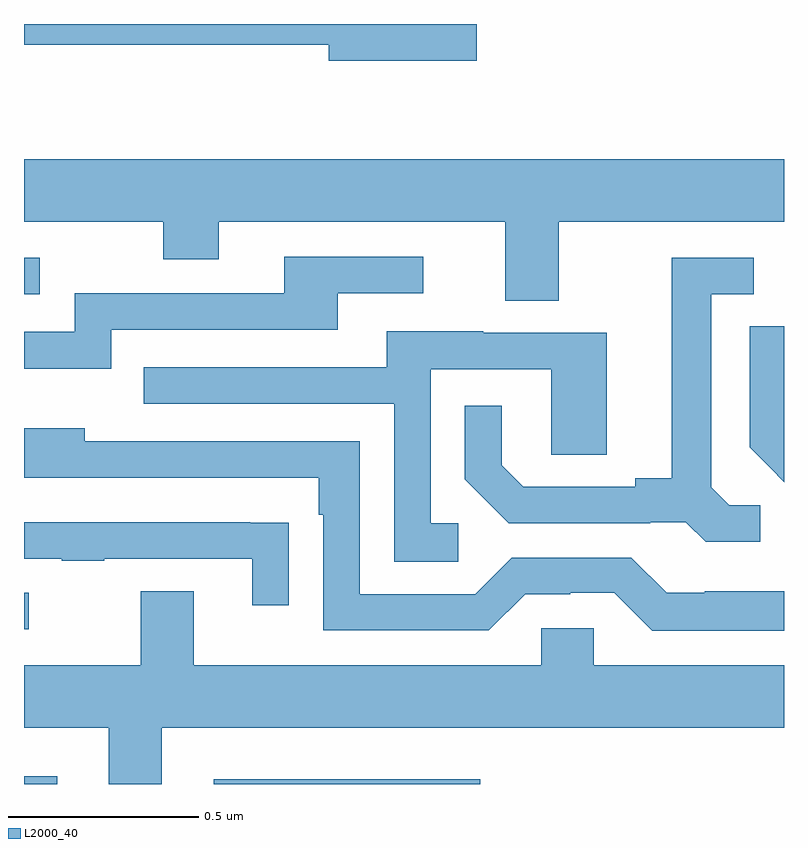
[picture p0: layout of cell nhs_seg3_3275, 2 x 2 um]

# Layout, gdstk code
import gdstk
lib = gdstk.Library(unit=1e-6, precision=1e-09)
def R(c, l, rs):  # rectangles x0, y0, x1, y1
    for r in rs: c.add(gdstk.rectangle(r[:2], r[2:], *l))
def P(c, l, *ps):  # polygons
    for p in ps: c.add(gdstk.Polygon(p, *l))
L2000_40 = (2000, 40)

nhs_seg3_3275 = lib.new_cell('nhs_seg3_3275')
R(nhs_seg3_3275, L2000_40, [(151,735.4,151.087,735.421), (151.499,735.4,152.2,735.412), (151,735.807,151.012,735.903), (151,736.689,151.042,736.785)])
P(nhs_seg3_3275, L2000_40, [(152.191,737.4),(151,737.4),(151,737.346),(151.802,737.346),(151.802,737.303),(152.191,737.303)],
  [(151,736.88),(151.366,736.88),(151.366,736.781),(151.513,736.781),(151.513,736.88),(152.267,736.88),(152.267,736.672),(152.407,736.672),(152.407,736.88),(153,736.88),(153,737.044),(151,737.044)],
  [(151.23,736.596),(151.825,736.596),(151.825,736.692),(152.05,736.692),(152.05,736.788),(151.685,736.788),(151.685,736.692),(151.134,736.692),(151.134,736.59),(151,736.59),(151,736.493),(151.23,736.493)],
  [(152.938,736.134),(152.856,736.134),(152.809,736.181),(152.809,736.689),(152.92,736.689),(152.92,736.785),(152.705,736.785),(152.705,736.205),(152.609,736.205),(152.609,736.182),(152.314,736.182),(152.257,736.239),(152.257,736.396),(152.16,736.396),(152.16,736.202),(152.276,736.086),(152.648,736.086),(152.648,736.089),(152.742,736.089),(152.794,736.037),(152.938,736.037)],
  [(153,736.604),(152.91,736.604),(152.91,736.286),(152.983,736.213),(152.982,736.212),(153,736.194)],
  [(152.143,736.086),(152.07,736.086),(152.07,736.491),(152.388,736.491),(152.388,736.267),(152.533,736.267),(152.533,736.587),(152.209,736.587),(152.209,736.591),(151.955,736.591),(151.955,736.497),(151.315,736.497),(151.315,736.401),(151.974,736.401),(151.974,735.985),(152.143,735.985)],
  [(153,735.907),(152.791,735.907),(152.791,735.903),(152.691,735.903),(152.598,735.996),(152.283,735.996),(152.187,735.9),(151.884,735.9),(151.884,736.302),(151.16,736.302),(151.16,736.336),(151,736.336),(151,736.206),(151.775,736.206),(151.775,736.109),(151.788,736.109),(151.788,735.804),(152.223,735.804),(152.319,735.9),(152.438,735.9),(152.438,735.903),(152.553,735.903),(152.653,735.803),(153,735.803)],
  [(151.697,736.088),(151.595,736.088),(151.595,736.089),(151,736.089),(151,735.993),(151.099,735.993),(151.099,735.988),(151.211,735.988),(151.211,735.993),(151.601,735.993),(151.601,735.87),(151.697,735.87)],
  [(151.363,735.548),(153,735.548),(153,735.712),(152.499,735.712),(152.499,735.81),(152.361,735.81),(152.361,735.712),(151.447,735.712),(151.447,735.907),(151.307,735.907),(151.307,735.712),(151,735.712),(151,735.548),(151.223,735.548),(151.223,735.4),(151.363,735.4)])

lib.write_gds('nhs_seg3_3275.gds')
